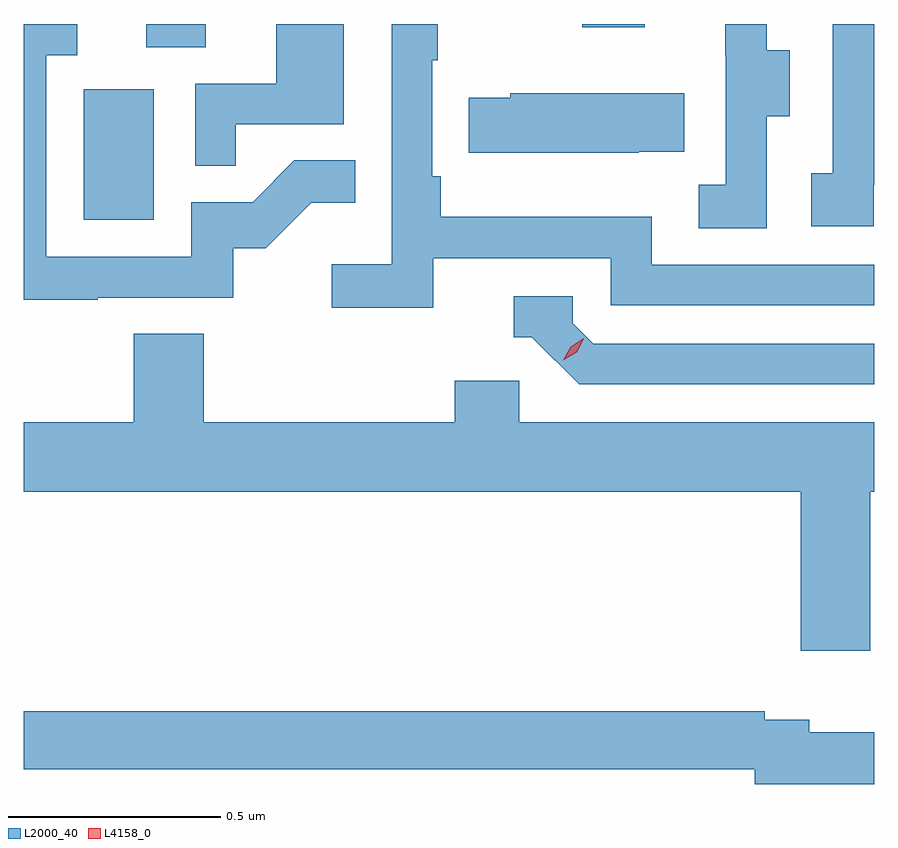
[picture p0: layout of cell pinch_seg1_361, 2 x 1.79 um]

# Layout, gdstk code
import gdstk
lib = gdstk.Library(unit=1e-6, precision=1e-09)
def R(c, l, rs):  # rectangles x0, y0, x1, y1
    for r in rs: c.add(gdstk.rectangle(r[:2], r[2:], *l))
def P(c, l, *ps):  # polygons
    for p in ps: c.add(gdstk.Polygon(p, *l))
L2000_40 = (2000, 40)
L4158_0 = (4158, 0)

pinch_seg1_361 = lib.new_cell('pinch_seg1_361')
R(pinch_seg1_361, L2000_40, [(966.518,563.028,966.682,563.335), (966.665,563.434,966.805,563.489), (967.69,563.481,967.837,563.489)])
P(pinch_seg1_361, L2000_40, [(966.551,562.845),(966.87,562.845),(966.87,562.962),(966.946,562.962),(967.053,563.069),(967.157,563.069),(967.157,563.168),(967.013,563.168),(966.915,563.07),(966.771,563.07),(966.771,562.941),(966.429,562.941),(966.429,563.415),(966.502,563.415),(966.502,563.489),(966.377,563.489),(966.377,562.84),(966.551,562.84)],
  [(967.34,562.938),(967.758,562.938),(967.758,562.827),(968.377,562.827),(968.377,562.923),(967.854,562.923),(967.854,563.035),(967.358,563.035),(967.358,563.131),(967.338,563.131),(967.338,563.404),(967.351,563.404),(967.351,563.489),(967.242,563.489),(967.242,562.924),(967.101,562.924),(967.101,562.822),(967.34,562.822)],
  [(966.875,563.253),(967.129,563.253),(967.129,563.489),(966.971,563.489),(966.971,563.349),(966.78,563.349),(966.78,563.155),(966.875,563.155)],
  [(968.376,563.111),(968.377,563.111),(968.377,563.489),(968.28,563.489),(968.28,563.138),(968.229,563.138),(968.229,563.013),(968.376,563.013)],
  [(968.124,563.272),(968.179,563.272),(968.179,563.427),(968.125,563.427),(968.125,563.489),(968.027,563.489),(968.027,563.415),(968.028,563.415),(968.028,563.111),(967.965,563.111),(967.965,563.008),(968.124,563.008)],
  [(967.823,563.189),(967.931,563.189),(967.931,563.326),(967.521,563.326),(967.521,563.316),(967.423,563.316),(967.423,563.186),(967.823,563.186)],
  [(968.377,562.737),(967.716,562.737),(967.668,562.785),(967.668,562.848),(967.529,562.848),(967.529,562.752),(967.572,562.752),(967.683,562.641),(968.377,562.641)],
  [(968.368,562.388),(968.377,562.388),(968.377,562.552),(967.542,562.552),(967.542,562.65),(967.391,562.65),(967.391,562.552),(966.8,562.552),(966.8,562.76),(966.635,562.76),(966.635,562.552),(966.377,562.552),(966.377,562.388),(968.204,562.388),(968.204,562.014),(968.368,562.014)],
  [(968.377,561.823),(968.224,561.823),(968.224,561.852),(968.12,561.852),(968.12,561.872),(966.377,561.872),(966.377,561.736),(968.096,561.736),(968.096,561.701),(968.377,561.701)])
P(pinch_seg1_361, L4158_0, [(967.646,562.698),(967.646,562.698),(967.663,562.73),(967.694,562.75),(967.694,562.75),(967.694,562.749),(967.677,562.717),(967.646,562.698)])

lib.write_gds('pinch_seg1_361.gds')
